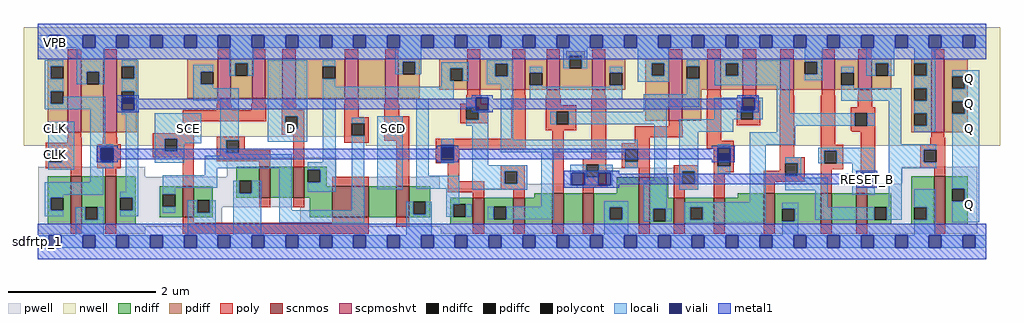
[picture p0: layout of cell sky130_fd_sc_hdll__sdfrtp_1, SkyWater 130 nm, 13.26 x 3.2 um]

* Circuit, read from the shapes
.subckt sky130_fd_sc_hdll__sdfrtp_1 CLK D RESET_B SCD SCE VGND VNB VPB VPWR Q
XM1 VGND CLK n1 VNB sky130_fd_pr__nfet_01v8 w=0.65 l=0.15
XM2 n2 n1 VGND VNB sky130_fd_pr__nfet_01v8 w=0.65 l=0.15
XM3 VGND SCE n3 VNB sky130_fd_pr__nfet_01v8 w=0.42 l=0.15
XM4 n4 n3 VGND VNB sky130_fd_pr__nfet_01v8 w=0.42 l=0.15
XM5 n5 D n4 VNB sky130_fd_pr__nfet_01v8 w=0.42 l=0.15
XM6 n6 SCE n5 VNB sky130_fd_pr__nfet_01v8 w=0.42 l=0.5
XM7 VGND SCD n6 VNB sky130_fd_pr__nfet_01v8 w=0.42 l=0.18
XM8 n7 n1 n5 VNB sky130_fd_pr__nfet_01v8 w=0.36 l=0.15
XM9 n8 n2 n7 VNB sky130_fd_pr__nfet_01v8 w=0.36 l=0.15
XM10 n9 n10 n8 VNB sky130_fd_pr__nfet_01v8 w=0.42 l=0.15
XM11 VGND RESET_B n9 VNB sky130_fd_pr__nfet_01v8 w=0.42 l=0.15
XM12 n10 n7 VGND VNB sky130_fd_pr__nfet_01v8 w=0.64 l=0.15
XM13 n11 n2 n10 VNB sky130_fd_pr__nfet_01v8 w=0.36 l=0.15
XM14 n12 n1 n11 VNB sky130_fd_pr__nfet_01v8 w=0.36 l=0.15
XM15 VGND n13 n12 VNB sky130_fd_pr__nfet_01v8 w=0.42 l=0.15
XM16 n14 RESET_B VGND VNB sky130_fd_pr__nfet_01v8 w=0.42 l=0.15
XM17 n13 n11 n14 VNB sky130_fd_pr__nfet_01v8 w=0.42 l=0.15
XM18 Q n13 VGND VNB sky130_fd_pr__nfet_01v8 w=0.65 l=0.15
XM19 VPWR CLK n1 VPB sky130_fd_pr__pfet_01v8_hvt w=1 l=0.18
XM20 n2 n1 VPWR VPB sky130_fd_pr__pfet_01v8_hvt w=1 l=0.18
XM21 VPWR SCE n3 VPB sky130_fd_pr__pfet_01v8_hvt w=0.54 l=0.18
XM22 n15 SCE VPWR VPB sky130_fd_pr__pfet_01v8_hvt w=0.54 l=0.18
XM23 n5 D n15 VPB sky130_fd_pr__pfet_01v8_hvt w=0.54 l=0.18
XM24 n16 n3 n5 VPB sky130_fd_pr__pfet_01v8_hvt w=0.54 l=0.18
XM25 VPWR SCD n16 VPB sky130_fd_pr__pfet_01v8_hvt w=0.54 l=0.18
XM26 n7 n2 n5 VPB sky130_fd_pr__pfet_01v8_hvt w=0.42 l=0.18
XM27 n17 n1 n7 VPB sky130_fd_pr__pfet_01v8_hvt w=0.42 l=0.18
XM28 VPWR n10 n17 VPB sky130_fd_pr__pfet_01v8_hvt w=0.42 l=0.18
XM29 n17 RESET_B VPWR VPB sky130_fd_pr__pfet_01v8_hvt w=0.42 l=0.18
XM30 n10 n7 VPWR VPB sky130_fd_pr__pfet_01v8_hvt w=0.84 l=0.18
XM31 n11 n1 n10 VPB sky130_fd_pr__pfet_01v8_hvt w=0.42 l=0.18
XM32 n18 n2 n11 VPB sky130_fd_pr__pfet_01v8_hvt w=0.42 l=0.18
XM33 VPWR n13 n18 VPB sky130_fd_pr__pfet_01v8_hvt w=0.42 l=0.18
XM34 n13 RESET_B VPWR VPB sky130_fd_pr__pfet_01v8_hvt w=0.42 l=0.18
XM35 VPWR n11 n13 VPB sky130_fd_pr__pfet_01v8_hvt w=0.42 l=0.18
XM36 Q n13 VPWR VPB sky130_fd_pr__pfet_01v8_hvt w=1 l=0.18
.ends

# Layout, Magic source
magic
tech sky130A
magscale 1 2
<< nwell >>
rect -38 285 2614 582
rect -38 261 424 285
rect 891 261 2614 285
<< pwell >>
rect 1 176 291 203
rect 513 176 810 229
rect 1 145 1092 176
rect 1546 157 1738 201
rect 2347 157 2552 203
rect 1322 145 2552 157
rect 1 93 2552 145
rect 1 40 501 93
rect 712 40 2552 93
rect 1 21 291 40
rect 1094 21 2552 40
rect 43 -2 47 21
<< scnmos >>
rect 89 47 119 177
rect 183 47 213 177
rect 393 66 423 150
rect 601 119 631 203
rect 693 119 723 203
rect 799 66 899 150
rect 973 66 1009 150
rect 1182 47 1212 119
rect 1292 47 1322 119
rect 1398 47 1428 131
rect 1480 47 1510 131
rect 1632 47 1662 175
rect 1727 47 1757 119
rect 1836 47 1866 119
rect 1972 47 2002 131
rect 2127 47 2157 131
rect 2223 47 2253 131
rect 2435 47 2465 177
<< scpmoshvt >>
rect 81 297 117 497
rect 178 297 214 497
rect 488 389 524 497
rect 582 389 618 497
rect 664 389 700 497
rect 834 389 870 497
rect 943 389 979 497
rect 1166 413 1202 497
rect 1288 413 1324 497
rect 1382 413 1418 497
rect 1506 413 1542 497
rect 1714 329 1750 497
rect 1819 413 1855 497
rect 1915 413 1951 497
rect 2017 413 2053 497
rect 2129 413 2165 497
rect 2229 413 2265 497
rect 2427 297 2463 497
<< ndiff >>
rect 27 119 89 177
rect 27 85 35 119
rect 69 85 89 119
rect 27 47 89 85
rect 119 93 183 177
rect 119 59 129 93
rect 163 59 183 93
rect 119 47 183 59
rect 213 119 265 177
rect 539 165 601 203
rect 213 85 223 119
rect 257 85 265 119
rect 213 47 265 85
rect 331 129 393 150
rect 331 95 339 129
rect 373 95 393 129
rect 331 66 393 95
rect 423 112 475 150
rect 539 131 547 165
rect 581 131 601 165
rect 539 119 601 131
rect 631 119 693 203
rect 723 195 784 203
rect 723 161 733 195
rect 767 161 784 195
rect 723 150 784 161
rect 723 119 799 150
rect 423 78 433 112
rect 467 78 475 112
rect 423 66 475 78
rect 738 66 799 119
rect 899 66 973 150
rect 1009 108 1066 150
rect 1572 131 1632 175
rect 1348 119 1398 131
rect 1009 74 1020 108
rect 1054 74 1066 108
rect 1009 66 1066 74
rect 1120 101 1182 119
rect 1120 67 1128 101
rect 1162 67 1182 101
rect 1120 47 1182 67
rect 1212 95 1292 119
rect 1212 61 1238 95
rect 1272 61 1292 95
rect 1212 47 1292 61
rect 1322 47 1398 119
rect 1428 47 1480 131
rect 1510 93 1632 131
rect 1510 59 1554 93
rect 1588 59 1632 93
rect 1510 47 1632 59
rect 1662 119 1712 175
rect 1901 119 1972 131
rect 1662 89 1727 119
rect 1662 55 1672 89
rect 1706 55 1727 89
rect 1662 47 1727 55
rect 1757 93 1836 119
rect 1757 59 1772 93
rect 1806 59 1836 93
rect 1757 47 1836 59
rect 1866 47 1972 119
rect 2002 89 2127 131
rect 2002 55 2022 89
rect 2056 55 2127 89
rect 2002 47 2127 55
rect 2157 47 2223 131
rect 2253 93 2318 131
rect 2253 59 2272 93
rect 2306 59 2318 93
rect 2253 47 2318 59
rect 2373 93 2435 177
rect 2373 59 2381 93
rect 2415 59 2435 93
rect 2373 47 2435 59
rect 2465 143 2526 177
rect 2465 109 2484 143
rect 2518 109 2526 143
rect 2465 47 2526 109
<< pdiff >>
rect 1435 505 1485 517
rect 1435 497 1443 505
rect 27 477 81 497
rect 27 443 35 477
rect 69 443 81 477
rect 27 409 81 443
rect 27 375 35 409
rect 69 375 81 409
rect 27 297 81 375
rect 117 461 178 497
rect 117 427 132 461
rect 166 427 178 461
rect 117 297 178 427
rect 214 477 269 497
rect 214 443 227 477
rect 261 443 269 477
rect 214 409 269 443
rect 214 375 227 409
rect 261 375 269 409
rect 406 461 488 497
rect 406 427 442 461
rect 476 427 488 461
rect 406 389 488 427
rect 524 485 582 497
rect 524 451 536 485
rect 570 451 582 485
rect 524 389 582 451
rect 618 389 664 497
rect 700 477 834 497
rect 700 443 774 477
rect 808 443 834 477
rect 700 389 834 443
rect 870 389 943 497
rect 979 489 1037 497
rect 979 455 991 489
rect 1025 455 1037 489
rect 979 389 1037 455
rect 1091 471 1166 497
rect 1091 437 1120 471
rect 1154 437 1166 471
rect 1091 413 1166 437
rect 1202 483 1288 497
rect 1202 449 1242 483
rect 1276 449 1288 483
rect 1202 413 1288 449
rect 1324 459 1382 497
rect 1324 425 1336 459
rect 1370 425 1382 459
rect 1324 413 1382 425
rect 1418 471 1443 497
rect 1477 497 1485 505
rect 1477 471 1506 497
rect 1418 413 1506 471
rect 1542 459 1596 497
rect 1542 425 1554 459
rect 1588 425 1596 459
rect 1542 413 1596 425
rect 1650 485 1714 497
rect 1650 451 1668 485
rect 1702 451 1714 485
rect 214 297 269 375
rect 1650 329 1714 451
rect 1750 477 1819 497
rect 1750 443 1763 477
rect 1797 443 1819 477
rect 1750 413 1819 443
rect 1855 484 1915 497
rect 1855 450 1869 484
rect 1903 450 1915 484
rect 1855 413 1915 450
rect 1951 413 2017 497
rect 2053 489 2129 497
rect 2053 455 2083 489
rect 2117 455 2129 489
rect 2053 413 2129 455
rect 2165 459 2229 497
rect 2165 425 2182 459
rect 2216 425 2229 459
rect 2165 413 2229 425
rect 2265 485 2319 497
rect 2265 451 2277 485
rect 2311 451 2319 485
rect 2265 413 2319 451
rect 2373 485 2427 497
rect 2373 451 2381 485
rect 2415 451 2427 485
rect 2373 417 2427 451
rect 1750 329 1802 413
rect 2373 383 2381 417
rect 2415 383 2427 417
rect 2373 349 2427 383
rect 2373 315 2381 349
rect 2415 315 2427 349
rect 2373 297 2427 315
rect 2463 449 2526 497
rect 2463 415 2484 449
rect 2518 415 2526 449
rect 2463 381 2526 415
rect 2463 347 2484 381
rect 2518 347 2526 381
rect 2463 297 2526 347
<< ndiffc >>
rect 35 85 69 119
rect 129 59 163 93
rect 223 85 257 119
rect 339 95 373 129
rect 547 131 581 165
rect 733 161 767 195
rect 433 78 467 112
rect 1020 74 1054 108
rect 1128 67 1162 101
rect 1238 61 1272 95
rect 1554 59 1588 93
rect 1672 55 1706 89
rect 1772 59 1806 93
rect 2022 55 2056 89
rect 2272 59 2306 93
rect 2381 59 2415 93
rect 2484 109 2518 143
<< pdiffc >>
rect 35 443 69 477
rect 35 375 69 409
rect 132 427 166 461
rect 227 443 261 477
rect 227 375 261 409
rect 442 427 476 461
rect 536 451 570 485
rect 774 443 808 477
rect 991 455 1025 489
rect 1120 437 1154 471
rect 1242 449 1276 483
rect 1336 425 1370 459
rect 1443 471 1477 505
rect 1554 425 1588 459
rect 1668 451 1702 485
rect 1763 443 1797 477
rect 1869 450 1903 484
rect 2083 455 2117 489
rect 2182 425 2216 459
rect 2277 451 2311 485
rect 2381 451 2415 485
rect 2381 383 2415 417
rect 2381 315 2415 349
rect 2484 415 2518 449
rect 2484 347 2518 381
<< poly >>
rect 81 497 117 523
rect 178 497 214 523
rect 488 497 524 523
rect 582 497 618 523
rect 664 497 700 523
rect 834 497 870 523
rect 943 497 979 523
rect 1166 497 1202 523
rect 1288 497 1324 523
rect 1382 497 1418 523
rect 1506 497 1542 523
rect 1714 497 1750 523
rect 1819 497 1855 523
rect 1915 497 1951 523
rect 2017 497 2053 523
rect 2129 497 2165 523
rect 2229 497 2265 523
rect 2427 497 2463 523
rect 1166 398 1202 413
rect 1288 398 1324 413
rect 1382 398 1418 413
rect 1506 398 1542 413
rect 488 374 524 389
rect 582 374 618 389
rect 664 374 700 389
rect 834 374 870 389
rect 943 374 979 389
rect 1164 375 1204 398
rect 486 357 526 374
rect 580 357 620 374
rect 393 327 620 357
rect 662 357 702 374
rect 662 341 723 357
rect 81 282 117 297
rect 178 282 214 297
rect 393 295 423 327
rect 79 269 119 282
rect 21 249 119 269
rect 176 265 216 282
rect 312 279 423 295
rect 662 307 672 341
rect 706 307 723 341
rect 662 291 723 307
rect 21 215 31 249
rect 65 215 119 249
rect 21 199 119 215
rect 161 249 225 265
rect 161 215 171 249
rect 205 215 225 249
rect 312 245 344 279
rect 378 245 423 279
rect 312 229 423 245
rect 161 199 225 215
rect 89 177 119 199
rect 183 177 213 199
rect 393 150 423 229
rect 486 275 562 285
rect 486 241 512 275
rect 546 248 562 275
rect 546 241 631 248
rect 486 218 631 241
rect 601 203 631 218
rect 693 203 723 291
rect 832 338 872 374
rect 941 340 981 374
rect 1148 365 1224 375
rect 832 321 899 338
rect 832 287 853 321
rect 887 287 899 321
rect 832 268 899 287
rect 941 324 1009 340
rect 941 290 957 324
rect 991 290 1009 324
rect 1148 331 1164 365
rect 1198 331 1224 365
rect 1148 321 1224 331
rect 941 274 1009 290
rect 1286 279 1326 398
rect 1380 371 1420 398
rect 1380 353 1462 371
rect 1380 319 1408 353
rect 1442 319 1462 353
rect 1380 303 1462 319
rect 799 150 899 176
rect 973 150 1009 274
rect 1081 263 1326 279
rect 1081 229 1096 263
rect 1130 249 1326 263
rect 1130 229 1144 249
rect 1081 213 1144 229
rect 1114 164 1144 213
rect 1258 191 1322 207
rect 601 93 631 119
rect 693 93 723 119
rect 1114 134 1212 164
rect 1258 157 1268 191
rect 1302 157 1322 191
rect 1258 141 1322 157
rect 1182 119 1212 134
rect 1292 119 1322 141
rect 1398 131 1428 303
rect 1504 225 1544 398
rect 1819 398 1855 413
rect 1915 398 1951 413
rect 2017 398 2053 413
rect 2129 398 2165 413
rect 2229 398 2265 413
rect 1714 314 1750 329
rect 1622 284 1752 314
rect 1622 267 1662 284
rect 1480 209 1544 225
rect 1480 175 1490 209
rect 1524 175 1544 209
rect 1586 251 1662 267
rect 1817 274 1857 398
rect 1913 383 1953 398
rect 1913 382 1963 383
rect 1899 366 1963 382
rect 1899 332 1909 366
rect 1943 332 1963 366
rect 1899 316 1963 332
rect 1817 252 1891 274
rect 1586 217 1596 251
rect 1630 217 1662 251
rect 1586 201 1662 217
rect 1836 239 1891 252
rect 1632 175 1662 201
rect 1727 191 1794 207
rect 1480 151 1544 175
rect 1480 131 1510 151
rect 393 51 423 66
rect 799 51 899 66
rect 89 21 119 47
rect 183 21 213 47
rect 393 21 899 51
rect 973 40 1009 66
rect 1727 157 1750 191
rect 1784 157 1794 191
rect 1727 141 1794 157
rect 1836 205 1847 239
rect 1881 205 1891 239
rect 1836 189 1891 205
rect 2015 229 2055 398
rect 2127 263 2167 398
rect 2227 365 2267 398
rect 2209 349 2275 365
rect 2209 315 2219 349
rect 2253 315 2275 349
rect 2209 301 2275 315
rect 2211 300 2275 301
rect 2213 299 2275 300
rect 2127 247 2188 263
rect 2015 213 2084 229
rect 2015 193 2030 213
rect 1727 119 1757 141
rect 1836 119 1866 189
rect 1972 179 2030 193
rect 2064 179 2084 213
rect 1972 163 2084 179
rect 2127 213 2137 247
rect 2171 213 2188 247
rect 2127 197 2188 213
rect 1972 131 2002 163
rect 2127 131 2157 197
rect 2235 170 2275 299
rect 2427 282 2463 297
rect 2425 265 2465 282
rect 2397 249 2465 265
rect 2397 215 2407 249
rect 2441 215 2465 249
rect 2397 199 2465 215
rect 2435 177 2465 199
rect 2223 146 2275 170
rect 2223 131 2253 146
rect 1182 21 1212 47
rect 1292 21 1322 47
rect 1398 21 1428 47
rect 1480 21 1510 47
rect 1632 21 1662 47
rect 1727 21 1757 47
rect 1836 21 1866 47
rect 1972 21 2002 47
rect 2127 21 2157 47
rect 2223 21 2253 47
rect 2435 21 2465 47
<< polycont >>
rect 672 307 706 341
rect 31 215 65 249
rect 171 215 205 249
rect 344 245 378 279
rect 512 241 546 275
rect 853 287 887 321
rect 957 290 991 324
rect 1164 331 1198 365
rect 1408 319 1442 353
rect 1096 229 1130 263
rect 1268 157 1302 191
rect 1490 175 1524 209
rect 1909 332 1943 366
rect 1596 217 1630 251
rect 1750 157 1784 191
rect 1847 205 1881 239
rect 2219 315 2253 349
rect 2030 179 2064 213
rect 2137 213 2171 247
rect 2407 215 2441 249
<< locali >>
rect 0 527 29 561
rect 63 527 121 561
rect 155 527 213 561
rect 247 527 305 561
rect 339 527 397 561
rect 431 527 489 561
rect 523 527 581 561
rect 615 527 673 561
rect 707 527 765 561
rect 799 527 857 561
rect 891 527 949 561
rect 983 527 1041 561
rect 1075 527 1133 561
rect 1167 527 1225 561
rect 1259 527 1317 561
rect 1351 527 1409 561
rect 1443 527 1501 561
rect 1535 527 1593 561
rect 1627 527 1685 561
rect 1719 527 1777 561
rect 1811 527 1869 561
rect 1903 527 1961 561
rect 1995 527 2053 561
rect 2087 527 2145 561
rect 2179 527 2237 561
rect 2271 527 2329 561
rect 2363 527 2421 561
rect 2455 527 2513 561
rect 2547 527 2576 561
rect 18 477 69 493
rect 18 443 35 477
rect 18 409 69 443
rect 106 461 182 527
rect 106 427 132 461
rect 166 427 182 461
rect 227 477 273 493
rect 520 485 586 527
rect 261 443 273 477
rect 18 375 35 409
rect 227 409 273 443
rect 69 375 183 393
rect 18 359 183 375
rect 28 249 98 325
rect 28 215 31 249
rect 65 215 98 249
rect 28 195 98 215
rect 142 265 183 359
rect 261 357 273 409
rect 422 461 476 480
rect 422 427 442 461
rect 520 451 536 485
rect 570 451 586 485
rect 422 417 476 427
rect 422 383 546 417
rect 227 346 273 357
rect 142 255 205 265
rect 142 215 171 255
rect 142 199 205 215
rect 142 161 177 199
rect 19 127 177 161
rect 239 135 273 346
rect 317 279 444 349
rect 317 245 344 279
rect 378 267 444 279
rect 495 275 546 383
rect 378 245 398 267
rect 317 214 398 245
rect 495 241 512 275
rect 624 341 731 493
rect 624 307 672 341
rect 706 307 731 341
rect 624 271 731 307
rect 774 477 808 493
rect 971 489 1041 527
rect 1427 505 1493 527
rect 971 455 991 489
rect 1025 455 1041 489
rect 1096 471 1170 487
rect 774 421 808 443
rect 1096 437 1120 471
rect 1154 437 1170 471
rect 1219 483 1292 493
rect 1219 449 1242 483
rect 1276 449 1292 483
rect 1096 421 1130 437
rect 1219 427 1292 449
rect 774 387 1130 421
rect 495 237 546 241
rect 495 233 689 237
rect 453 199 689 233
rect 774 215 809 387
rect 453 180 487 199
rect 19 119 69 127
rect 19 85 35 119
rect 223 119 273 135
rect 19 69 69 85
rect 103 59 129 93
rect 163 59 179 93
rect 257 85 273 119
rect 223 69 273 85
rect 339 146 487 180
rect 339 129 373 146
rect 531 131 547 165
rect 581 131 607 165
rect 339 79 373 95
rect 407 78 433 112
rect 467 78 483 112
rect 103 17 179 59
rect 407 17 483 78
rect 531 17 607 131
rect 655 85 689 199
rect 733 195 809 215
rect 767 161 809 195
rect 733 135 809 161
rect 853 321 887 337
rect 853 85 887 287
rect 922 324 991 340
rect 922 290 957 324
rect 922 142 991 290
rect 1028 179 1062 387
rect 1164 365 1190 391
rect 1198 331 1224 357
rect 1164 315 1224 331
rect 1096 263 1130 279
rect 1096 213 1130 221
rect 1180 207 1224 315
rect 1258 277 1292 427
rect 1336 459 1370 475
rect 1427 471 1443 505
rect 1477 471 1493 505
rect 1630 485 1714 527
rect 1336 421 1370 425
rect 1554 459 1588 475
rect 1630 451 1668 485
rect 1702 451 1714 485
rect 1630 435 1714 451
rect 1763 477 1797 493
rect 1554 421 1588 425
rect 1336 387 1588 421
rect 1763 401 1797 443
rect 1839 484 2043 493
rect 1839 450 1869 484
rect 1903 450 2043 484
rect 1839 425 2043 450
rect 2083 489 2133 527
rect 2117 455 2133 489
rect 2251 485 2327 527
rect 2083 439 2133 455
rect 2182 459 2216 475
rect 1646 367 1797 401
rect 1646 353 1708 367
rect 1392 319 1408 353
rect 1442 319 1708 353
rect 1837 366 1913 391
rect 1837 333 1909 366
rect 1947 357 1969 391
rect 1258 251 1630 277
rect 1258 243 1596 251
rect 1180 191 1330 207
rect 1028 143 1144 179
rect 655 51 887 85
rect 1001 74 1020 108
rect 1054 74 1070 108
rect 1001 17 1070 74
rect 1110 101 1144 143
rect 1180 157 1268 191
rect 1302 157 1330 191
rect 1180 141 1330 157
rect 1110 67 1128 101
rect 1162 67 1178 101
rect 1368 95 1402 243
rect 1446 187 1490 209
rect 1524 187 1562 209
rect 1596 201 1630 217
rect 1446 153 1451 187
rect 1485 175 1490 187
rect 1485 153 1523 175
rect 1557 153 1562 187
rect 1674 167 1708 319
rect 1222 61 1238 95
rect 1272 61 1402 95
rect 1538 93 1604 109
rect 1538 59 1554 93
rect 1588 59 1604 93
rect 1538 17 1604 59
rect 1646 89 1708 167
rect 1742 332 1909 333
rect 1943 332 1969 357
rect 2008 349 2043 425
rect 2251 451 2277 485
rect 2311 451 2327 485
rect 2381 485 2438 527
rect 2415 451 2438 485
rect 2182 417 2216 425
rect 2381 417 2438 451
rect 2182 383 2346 417
rect 1742 299 1889 332
rect 2008 315 2219 349
rect 2253 315 2274 349
rect 1742 191 1794 299
rect 2008 297 2057 315
rect 1742 157 1750 191
rect 1784 157 1794 191
rect 1847 255 1881 265
rect 1847 184 1881 205
rect 1934 263 2057 297
rect 2312 265 2346 383
rect 2415 383 2438 417
rect 2381 349 2438 383
rect 2415 315 2438 349
rect 2381 299 2438 315
rect 2484 449 2557 465
rect 2518 415 2557 449
rect 2484 381 2557 415
rect 2518 347 2557 381
rect 1742 141 1794 157
rect 1934 107 1978 263
rect 2120 247 2274 255
rect 2030 213 2074 229
rect 2120 213 2137 247
rect 2171 213 2274 247
rect 2064 179 2074 213
rect 2030 173 2074 179
rect 2213 187 2274 213
rect 2030 139 2146 173
rect 1756 93 1978 107
rect 1646 55 1672 89
rect 1706 55 1722 89
rect 1756 59 1772 93
rect 1806 59 1978 93
rect 1756 51 1978 59
rect 2022 89 2066 105
rect 2056 55 2066 89
rect 2112 93 2146 139
rect 2213 153 2235 187
rect 2269 153 2274 187
rect 2213 127 2274 153
rect 2312 249 2441 265
rect 2312 215 2407 249
rect 2312 199 2441 215
rect 2312 93 2347 199
rect 2484 143 2557 347
rect 2112 59 2272 93
rect 2306 59 2347 93
rect 2381 93 2438 142
rect 2415 59 2438 93
rect 2022 17 2066 55
rect 2381 17 2438 59
rect 2518 109 2557 143
rect 2484 53 2557 109
rect 0 -17 29 17
rect 63 -17 121 17
rect 155 -17 213 17
rect 247 -17 305 17
rect 339 -17 397 17
rect 431 -17 489 17
rect 523 -17 581 17
rect 615 -17 673 17
rect 707 -17 765 17
rect 799 -17 857 17
rect 891 -17 949 17
rect 983 -17 1041 17
rect 1075 -17 1133 17
rect 1167 -17 1225 17
rect 1259 -17 1317 17
rect 1351 -17 1409 17
rect 1443 -17 1501 17
rect 1535 -17 1593 17
rect 1627 -17 1685 17
rect 1719 -17 1777 17
rect 1811 -17 1869 17
rect 1903 -17 1961 17
rect 1995 -17 2053 17
rect 2087 -17 2145 17
rect 2179 -17 2237 17
rect 2271 -17 2329 17
rect 2363 -17 2421 17
rect 2455 -17 2513 17
rect 2547 -17 2576 17
<< viali >>
rect 29 527 63 561
rect 121 527 155 561
rect 213 527 247 561
rect 305 527 339 561
rect 397 527 431 561
rect 489 527 523 561
rect 581 527 615 561
rect 673 527 707 561
rect 765 527 799 561
rect 857 527 891 561
rect 949 527 983 561
rect 1041 527 1075 561
rect 1133 527 1167 561
rect 1225 527 1259 561
rect 1317 527 1351 561
rect 1409 527 1443 561
rect 1501 527 1535 561
rect 1593 527 1627 561
rect 1685 527 1719 561
rect 1777 527 1811 561
rect 1869 527 1903 561
rect 1961 527 1995 561
rect 2053 527 2087 561
rect 2145 527 2179 561
rect 2237 527 2271 561
rect 2329 527 2363 561
rect 2421 527 2455 561
rect 2513 527 2547 561
rect 227 375 261 391
rect 227 357 261 375
rect 171 249 205 255
rect 171 221 205 249
rect 1190 365 1224 391
rect 1190 357 1198 365
rect 1198 357 1224 365
rect 1096 229 1130 255
rect 1096 221 1130 229
rect 1913 366 1947 391
rect 1913 357 1943 366
rect 1943 357 1947 366
rect 1451 153 1485 187
rect 1523 175 1524 187
rect 1524 175 1557 187
rect 1523 153 1557 175
rect 1847 239 1881 255
rect 1847 221 1881 239
rect 2235 153 2269 187
rect 29 -17 63 17
rect 121 -17 155 17
rect 213 -17 247 17
rect 305 -17 339 17
rect 397 -17 431 17
rect 489 -17 523 17
rect 581 -17 615 17
rect 673 -17 707 17
rect 765 -17 799 17
rect 857 -17 891 17
rect 949 -17 983 17
rect 1041 -17 1075 17
rect 1133 -17 1167 17
rect 1225 -17 1259 17
rect 1317 -17 1351 17
rect 1409 -17 1443 17
rect 1501 -17 1535 17
rect 1593 -17 1627 17
rect 1685 -17 1719 17
rect 1777 -17 1811 17
rect 1869 -17 1903 17
rect 1961 -17 1995 17
rect 2053 -17 2087 17
rect 2145 -17 2179 17
rect 2237 -17 2271 17
rect 2329 -17 2363 17
rect 2421 -17 2455 17
rect 2513 -17 2547 17
<< metal1 >>
rect 0 561 2576 592
rect 0 527 29 561
rect 63 527 121 561
rect 155 527 213 561
rect 247 527 305 561
rect 339 527 397 561
rect 431 527 489 561
rect 523 527 581 561
rect 615 527 673 561
rect 707 527 765 561
rect 799 527 857 561
rect 891 527 949 561
rect 983 527 1041 561
rect 1075 527 1133 561
rect 1167 527 1225 561
rect 1259 527 1317 561
rect 1351 527 1409 561
rect 1443 527 1501 561
rect 1535 527 1593 561
rect 1627 527 1685 561
rect 1719 527 1777 561
rect 1811 527 1869 561
rect 1903 527 1961 561
rect 1995 527 2053 561
rect 2087 527 2145 561
rect 2179 527 2237 561
rect 2271 527 2329 561
rect 2363 527 2421 561
rect 2455 527 2513 561
rect 2547 527 2576 561
rect 0 496 2576 527
rect 214 391 274 397
rect 214 357 227 391
rect 261 388 274 391
rect 1178 391 1236 397
rect 1178 388 1190 391
rect 261 360 1190 388
rect 261 357 274 360
rect 214 351 274 357
rect 1178 357 1190 360
rect 1224 388 1236 391
rect 1900 391 1959 397
rect 1900 388 1913 391
rect 1224 360 1913 388
rect 1224 357 1236 360
rect 1178 351 1236 357
rect 1900 357 1913 360
rect 1947 357 1959 391
rect 1900 351 1959 357
rect 159 255 217 261
rect 159 221 171 255
rect 205 252 217 255
rect 1084 255 1142 261
rect 1084 252 1096 255
rect 205 224 1096 252
rect 205 221 217 224
rect 159 215 217 221
rect 1084 221 1096 224
rect 1130 252 1142 255
rect 1831 255 1893 261
rect 1831 252 1847 255
rect 1130 224 1847 252
rect 1130 221 1142 224
rect 1084 215 1142 221
rect 1831 221 1847 224
rect 1881 221 1893 255
rect 1831 215 1893 221
rect 1429 187 1580 193
rect 1429 153 1451 187
rect 1485 153 1523 187
rect 1557 184 1580 187
rect 2223 187 2281 193
rect 2223 184 2235 187
rect 1557 156 2235 184
rect 1557 153 1580 156
rect 1429 147 1580 153
rect 2223 153 2235 156
rect 2269 153 2281 187
rect 2223 147 2281 153
rect 0 17 2576 48
rect 0 -17 29 17
rect 63 -17 121 17
rect 155 -17 213 17
rect 247 -17 305 17
rect 339 -17 397 17
rect 431 -17 489 17
rect 523 -17 581 17
rect 615 -17 673 17
rect 707 -17 765 17
rect 799 -17 857 17
rect 891 -17 949 17
rect 983 -17 1041 17
rect 1075 -17 1133 17
rect 1167 -17 1225 17
rect 1259 -17 1317 17
rect 1351 -17 1409 17
rect 1443 -17 1501 17
rect 1535 -17 1593 17
rect 1627 -17 1685 17
rect 1719 -17 1777 17
rect 1811 -17 1869 17
rect 1903 -17 1961 17
rect 1995 -17 2053 17
rect 2087 -17 2145 17
rect 2179 -17 2237 17
rect 2271 -17 2329 17
rect 2363 -17 2421 17
rect 2455 -17 2513 17
rect 2547 -17 2576 17
rect 0 -48 2576 -17
<< labels >>
rlabel comment s 0 0 0 0 4 sdfrtp_1
flabel nwell s 34 528 63 556 0 FreeSans 200 0 0 0 VPB
port 8 nsew power bidirectional
flabel pwell s 43 -2 47 3 0 FreeSans 200 0 0 0 VNB
port 7 nsew ground bidirectional
flabel metal1 s 39 -10 57 7 0 FreeSans 200 0 0 0 VGND
port 6 nsew ground bidirectional
flabel metal1 s 31 534 63 554 0 FreeSans 200 0 0 0 VPWR
port 9 nsew power bidirectional
flabel metal1 s 2237 153 2271 187 0 FreeSans 200 0 0 0 RESET_B
port 3 nsew signal input
flabel locali s 2513 85 2547 119 0 FreeSans 400 0 0 0 Q
port 10 nsew signal output
flabel locali s 2513 289 2547 323 0 FreeSans 400 0 0 0 Q
port 10 nsew signal output
flabel locali s 2513 357 2547 391 0 FreeSans 400 0 0 0 Q
port 10 nsew signal output
flabel locali s 2513 425 2547 459 0 FreeSans 400 0 0 0 Q
port 10 nsew signal output
flabel locali s 30 289 64 323 0 FreeSans 400 0 0 0 CLK
port 1 nsew signal input
flabel locali s 31 221 65 255 0 FreeSans 400 0 0 0 CLK
port 1 nsew signal input
flabel locali s 671 289 705 323 0 FreeSans 200 0 0 0 D
port 2 nsew signal input
flabel locali s 947 289 983 323 0 FreeSans 200 0 0 0 SCD
port 4 nsew signal input
flabel locali s 391 289 425 323 0 FreeSans 200 0 0 0 SCE
port 5 nsew signal input
<< properties >>
string LEFsite unithd
string LEFclass CORE
string FIXED_BBOX 0 0 2576 544
string GDS_FILE $PDKPATH/libs.ref/sky130_fd_sc_hdll/gds/sky130_fd_sc_hdll.gds
string LEFsymmetry X Y R90
string GDS_END 1452236
string GDS_START 1434084
string LEFproperties maskLayoutSubType "abstract" prCellType "standard" originalViewName "layout"
<< end >>
